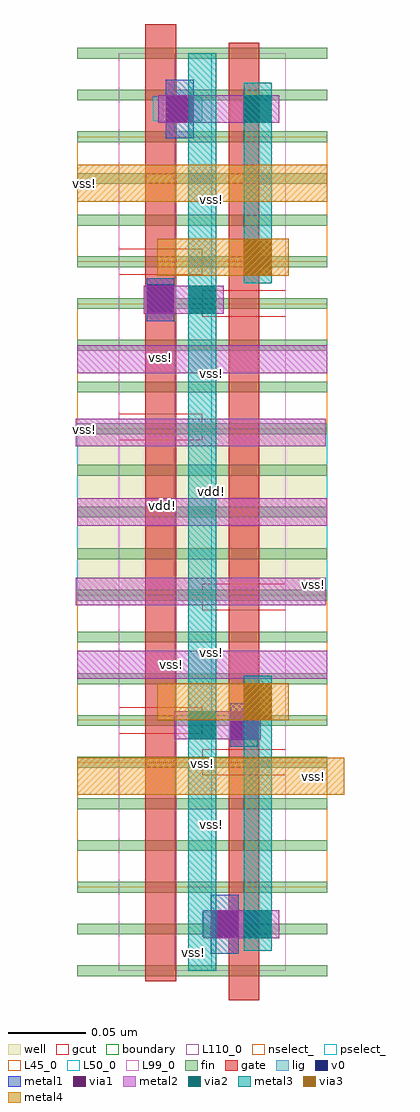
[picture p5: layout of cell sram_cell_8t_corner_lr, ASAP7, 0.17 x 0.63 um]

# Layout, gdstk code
import gdstk
lib = gdstk.Library(unit=1e-6, precision=2.5e-10)
def R(c, l, rs):  # rectangles x0, y0, x1, y1
    for r in rs: c.add(gdstk.rectangle(r[:2], r[2:], *l))
def A(c, l, x, y, w, h, nx, ny, dx, dy):  # array of equal rectangles
    R(c, l, [(x+i*dx, y+j*dy, x+i*dx+w, y+j*dy+h) for i in range(nx) for j in range(ny)])
well = (1, 0)
fin = (2, 0)
gate = (7, 0)
gcut = (10, 0)
nselect_ = (12, 0)
pselect_ = (13, 0)
lig = (16, 0)
v0 = (18, 0)
metal1 = (19, 0)
metal2 = (20, 0)
via1 = (21, 0)
via2 = (25, 0)
metal3 = (30, 0)
via3 = (35, 0)
metal4 = (40, 0)
L45_0 = (45, 0)
L50_0 = (50, 0)
L99_0 = (99, 0)
boundary = (100, 0)
L110_0 = (110, 0)

sram_cell_8t_corner_lr = lib.new_cell('sram_cell_8t_corner_lr')
R(sram_cell_8t_corner_lr, well, [(-0.027,0.081,0.135,0.189)])
A(sram_cell_8t_corner_lr, fin, -0.027, -0.1655, 0.162, 0.007, 1, 23, 0, 0.027)
R(sram_cell_8t_corner_lr, gate, [(0.071,-0.181,0.091,0.439), (0.017,-0.169,0.037,0.451)])
R(sram_cell_8t_corner_lr, gcut, [(0.054,-0.0355,0.108,-0.0185), (0,-0.0085,0.054,0.0085), (0.054,0.0715,0.108,0.0885), (0,0.1815,0.054,0.1985), (0.054,0.2615,0.108,0.2785), (0,0.2885,0.054,0.3055)])
R(sram_cell_8t_corner_lr, nselect_, [(-0.027,-0.108,0.135,-0.027), (-0.027,0,0.135,0.081), (-0.027,0.189,0.135,0.27), (-0.027,0.297,0.135,0.378)])
R(sram_cell_8t_corner_lr, pselect_, [(-0.027,0.081,0.135,0.189)])
R(sram_cell_8t_corner_lr, lig, [(0.054,-0.14,0.091,-0.124), (0.071,-0.0115,0.092,0.0045), (0.016,0.2655,0.037,0.2815), (0.022,0.388,0.054,0.404)])
R(sram_cell_8t_corner_lr, v0, [(0.0595,-0.141,0.0775,-0.123), (0.072,-0.0125,0.09,0.0055), (0.018,0.2645,0.036,0.2825), (0.0305,0.387,0.0485,0.405)])
R(sram_cell_8t_corner_lr, metal1, [(0.0595,-0.151,0.0775,-0.113), (0.072,-0.017,0.09,0.011), (0.018,0.2585,0.036,0.2865), (0.0305,0.377,0.0485,0.415)])
A(sram_cell_8t_corner_lr, metal2, -0.027, 0.027, 0.162, 0.018, 1, 3, 0, 0.099)
R(sram_cell_8t_corner_lr, metal2, [(0.0545,-0.141,0.104,-0.123), (0.036,-0.012,0.092,0.006), (-0.028,0.0745,0.134,0.0925), (-0.028,0.1775,0.134,0.1955), (0.016,0.2635,0.068,0.2815), (0.0255,0.387,0.104,0.405)])
R(sram_cell_8t_corner_lr, via1, [(0.0595,-0.141,0.0775,-0.123), (0.072,-0.012,0.09,0.006), (0.018,0.2635,0.036,0.2815), (0.0305,0.387,0.0485,0.405)])
R(sram_cell_8t_corner_lr, via2, [(0.081,-0.141,0.099,-0.123), (0.045,-0.012,0.063,0.006), (0.045,0.2635,0.063,0.2815), (0.081,0.387,0.099,0.405)])
R(sram_cell_8t_corner_lr, metal3, [(0.045,-0.162,0.063,0.432), (0.081,-0.149,0.099,0.029), (0.081,0.283,0.099,0.413)])
R(sram_cell_8t_corner_lr, via3, [(0.081,0,0.099,0.024), (0.081,0.288,0.099,0.312)])
R(sram_cell_8t_corner_lr, metal4, [(-0.027,-0.048,0.146,-0.024), (0.025,0,0.11,0.024), (0.025,0.288,0.11,0.312), (-0.027,0.336,0.135,0.36)])
R(sram_cell_8t_corner_lr, L45_0, [(0.036,0,0.06,0.024), (0.036,0.288,0.06,0.312)])
R(sram_cell_8t_corner_lr, L50_0, [(0.036,-0.162,0.06,0.432)])
R(sram_cell_8t_corner_lr, L99_0, [(0,-0.162,0.108,0.432)])
R(sram_cell_8t_corner_lr, boundary, [(0,-0.162,0.108,0.432)])
R(sram_cell_8t_corner_lr, L110_0, [(0,-0.162,0.108,0.432)])
sram_cell_8t_corner_lr.add(gdstk.Label('vss!', (0.027,0.235), layer=20, texttype=251))
sram_cell_8t_corner_lr.add(gdstk.Label('vss!', (0.034,0.036), layer=20, texttype=251))
sram_cell_8t_corner_lr.add(gdstk.Label('vdd!', (0.0285,0.1395), layer=20, texttype=251))
sram_cell_8t_corner_lr.add(gdstk.Label('vss!', (-0.022,0.1885), layer=20, texttype=251))
sram_cell_8t_corner_lr.add(gdstk.Label('vss!', (0.126,0.088), layer=20, texttype=251))
sram_cell_8t_corner_lr.add(gdstk.Label('vdd!', (0.06,0.148), layer=1, texttype=251))
sram_cell_8t_corner_lr.add(gdstk.Label('vss!', (0.06,0.2245), layer=3, texttype=251))
sram_cell_8t_corner_lr.add(gdstk.Label('vss!', (0.06,0.044), layer=3, texttype=251))
sram_cell_8t_corner_lr.add(gdstk.Label('vss!', (0.126,-0.036), layer=40, texttype=251))
sram_cell_8t_corner_lr.add(gdstk.Label('vss!', (-0.022,0.348), layer=40, texttype=251))
sram_cell_8t_corner_lr.add(gdstk.Label('vss!', (0.06,-0.0675), layer=3, texttype=251))
sram_cell_8t_corner_lr.add(gdstk.Label('vss!', (0.06,0.3375), layer=3, texttype=251))
sram_cell_8t_corner_lr.add(gdstk.Label('vss!', (0.054,-0.028), layer=30, texttype=251))
sram_cell_8t_corner_lr.add(gdstk.Label('vss!', (0.048,-0.15), layer=50, texttype=251))

lib.write_gds('sram_cell_8t_corner_lr.gds')
